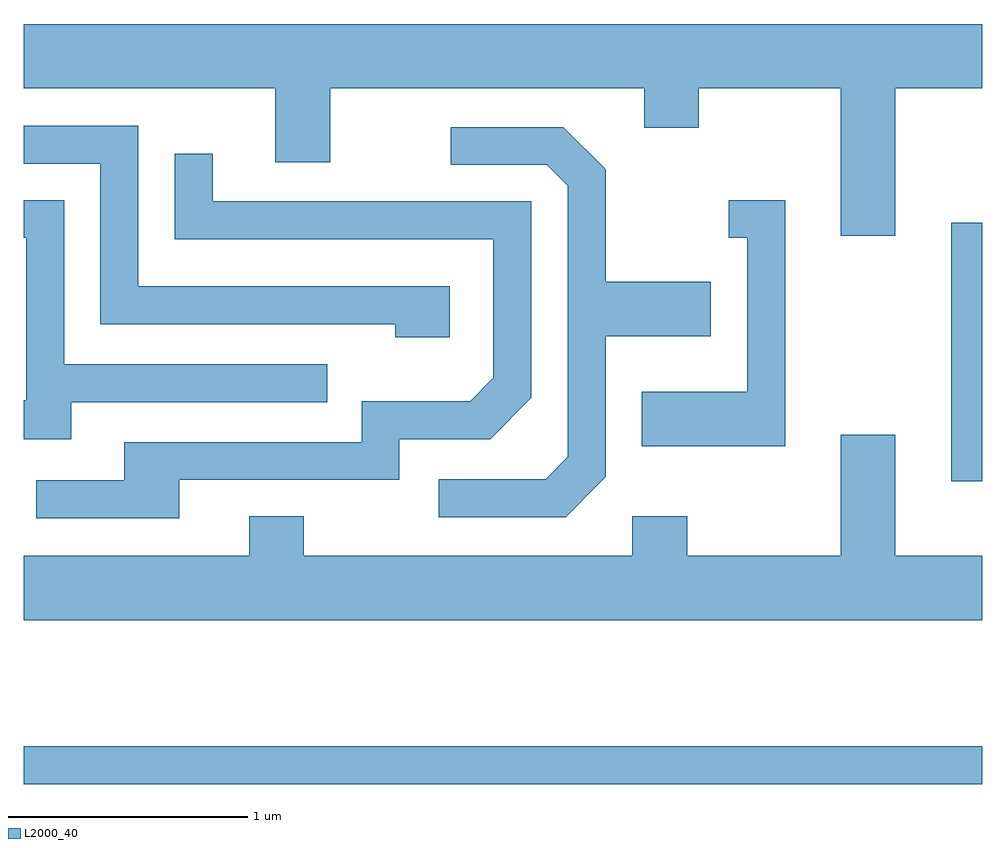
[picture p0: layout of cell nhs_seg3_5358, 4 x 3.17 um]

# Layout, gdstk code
import gdstk
lib = gdstk.Library(unit=1e-6, precision=1e-09)
def R(c, l, rs):  # rectangles x0, y0, x1, y1
    for r in rs: c.add(gdstk.rectangle(r[:2], r[2:], *l))
def P(c, l, *ps):  # polygons
    for p in ps: c.add(gdstk.Polygon(p, *l))
L2000_40 = (2000, 40)

nhs_seg3_5358 = lib.new_cell('nhs_seg3_5358')
R(nhs_seg3_5358, L2000_40, [(341.611,1231.892,345.611,1232.049), (345.481,1233.156,345.611,1234.234)])
P(nhs_seg3_5358, L2000_40, [(345.249,1234.796),(345.611,1234.796),(345.611,1235.064),(341.611,1235.064),(341.611,1234.796),(342.661,1234.796),(342.661,1234.486),(342.889,1234.486),(342.889,1234.796),(344.201,1234.796),(344.201,1234.631),(344.429,1234.631),(344.429,1234.796),(345.021,1234.796),(345.021,1234.181),(345.249,1234.181)],
  [(343.389,1233.969),(342.089,1233.969),(342.089,1234.639),(341.611,1234.639),(341.611,1234.481),(341.931,1234.481),(341.931,1233.811),(343.161,1233.811),(343.161,1233.756),(343.389,1233.756)],
  [(344.013,1233.147),(344.039,1233.174),(344.039,1233.761),(344.479,1233.761),(344.479,1233.989),(344.039,1233.989),(344.039,1234.457),(343.862,1234.634),(343.393,1234.634),(343.393,1234.476),(343.794,1234.476),(343.881,1234.389),(343.881,1233.257),(343.789,1233.164),(343.343,1233.164),(343.343,1233.006),(343.872,1233.006)],
  [(342.259,1233.161),(343.179,1233.161),(343.179,1233.331),(343.557,1233.331),(343.729,1233.504),(343.729,1234.324),(342.399,1234.324),(342.399,1234.523),(342.241,1234.523),(342.241,1234.166),(343.571,1234.166),(343.571,1233.587),(343.474,1233.489),(343.021,1233.489),(343.021,1233.319),(342.031,1233.319),(342.031,1233.159),(341.663,1233.159),(341.663,1233.001),(342.259,1233.001)],
  [(344.789,1234.329),(344.553,1234.329),(344.553,1234.171),(344.631,1234.171),(344.631,1233.529),(344.191,1233.529),(344.191,1233.301),(344.789,1233.301)],
  [(341.809,1233.486),(342.878,1233.486),(342.878,1233.644),(341.779,1233.644),(341.779,1234.329),(341.611,1234.329),(341.611,1234.171),(341.621,1234.171),(341.621,1233.494),(341.611,1233.494),(341.611,1233.331),(341.809,1233.331)],
  [(345.611,1232.844),(345.249,1232.844),(345.249,1233.349),(345.021,1233.349),(345.021,1232.844),(344.379,1232.844),(344.379,1233.009),(344.151,1233.009),(344.151,1232.844),(342.779,1232.844),(342.779,1233.009),(342.551,1233.009),(342.551,1232.844),(341.611,1232.844),(341.611,1232.576),(345.611,1232.576)])

lib.write_gds('nhs_seg3_5358.gds')
